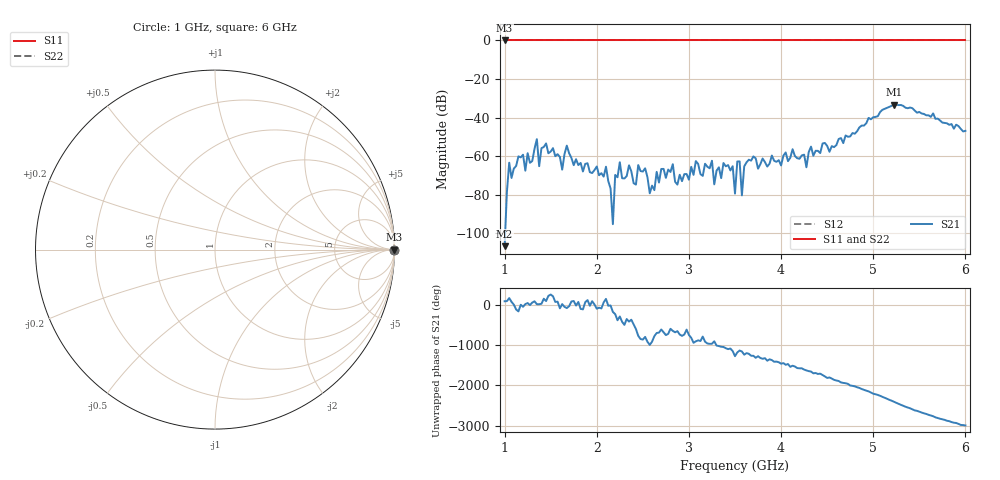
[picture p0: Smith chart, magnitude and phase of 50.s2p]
!Keysight Technologies N9926A: A.08.19
!Date: Sunday, 01 March 2026 13:31:48
!Timezone: (GMT-06:00) Central Time (US & Canada)
!Model: N9926A
!Serial: MY53102721
!GPS Latitude:
!GPS Longitude:
!GPS TimeStamp: 0001-01-01 00:00:00Z
!GPS Seconds Since Last Read: 0
!CHECKSUM:0235531655
!Correction: S11()S21(ON U)S12()S22()
!S2P File: Measurements:S11,S21,S12,S22:
# Hz S DB R 50
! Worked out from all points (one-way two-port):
!   201 points, 1 GHz to 6 GHz, reference 50 ohm
!   highest |S21| = -33.21 dB at 5.225 GHz (marker M1); lowest = -106.6 dB at 1 GHz (marker M2)
!   lowest |S11| = 0.0 dB at 1 GHz (marker M3)
!   |S11| at or under -10 dB: nowhere
!   |S22| runs from 0.0 to 0.0 dB; largest |S21 - S12| = 1
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1e9  0.00 0.0  -106.59 88.7  0.00 0.0  0.00 0.0
1.05e9  0.00 0.0  -63.33 167.1  0.00 0.0  0.00 0.0
1.225e9  0.00 0.0  -67.49 19.5  0.00 0.0  0.00 0.0
1.35e9  0.00 0.0  -51.12 15.1  0.00 0.0  0.00 0.0
1.375e9  0.00 0.0  -65.15 15.1  0.00 0.0  0.00 0.0
1.45e9  0.00 0.0  -53.34 92.9  0.00 0.0  0.00 0.0
1.625e9  0.00 0.0  -66.94 18.6  0.00 0.0  0.00 0.0
1.675e9  0.00 0.0  -54.49 -80.4  0.00 0.0  0.00 0.0
1.85e9  0.00 0.0  -67.88 -112.2  0.00 0.0  0.00 0.0
2.675e9  0.00 0.0  -73.60 29.2  0.00 0.0  0.00 0.0
3.25e9  0.00 0.0  -62.32 112.8  0.00 0.0  0.00 0.0
3.275e9  0.00 0.0  -74.58 174.8  0.00 0.0  0.00 0.0
3.475e9  0.00 0.0  -65.16 -69.3  0.00 0.0  0.00 0.0
3.5e9  0.00 0.0  -79.33 164.0  0.00 0.0  0.00 0.0
3.525e9  0.00 0.0  -62.70 -102.0  0.00 0.0  0.00 0.0
3.575e9  0.00 0.0  -80.25 -79.5  0.00 0.0  0.00 0.0
3.6e9  0.00 0.0  -65.24 -158.4  0.00 0.0  0.00 0.0
3.7e9  0.00 0.0  -60.08 173.7  0.00 0.0  0.00 0.0
4.35e9  0.00 0.0  -59.74 99.2  0.00 0.0  0.00 0.0
5.175e9  0.00 0.0  -34.45 159.5  0.00 0.0  0.00 0.0
5.225e9  0.00 0.0  -33.21 111.3  0.00 0.0  0.00 0.0
6e9  0.00 0.0  -46.85 -117.0  0.00 0.0  0.00 0.0
